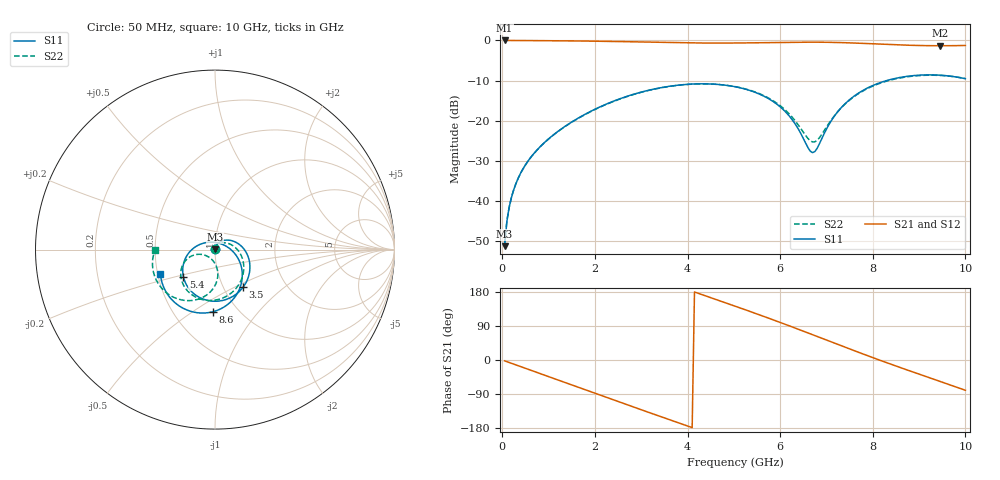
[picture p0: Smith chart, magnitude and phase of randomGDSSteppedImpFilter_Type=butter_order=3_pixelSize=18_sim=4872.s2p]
! freq	dB(S11)	phase(S11)	dB(S12)	phase(S12)
!  dB(S21)	phase(S21)	dB(S22)	phase(S22)
!S-par simulation data
#  GHz  S  DB  R 50
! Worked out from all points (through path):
!   200 points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, 50 MHz to 10 GHz, reference 50 ohm
!   highest |S21| = 0.00 dB at 50 MHz (marker M1); lowest = -1.3 dB at 9.45 GHz (marker M2)
!   group delay of S21, straight-line fit = 123 ps
!   lowest |S11| = -51.3 dB at 50 MHz (marker M3), VSWR 1.01, Z = 50 + j0.268 ohm
!   |S11| at or under -10 dB: start of sweep to 8.304 GHz
!   |S22| runs from -50.6 to -8.7 dB; largest |S21 - S12| = 0
!   S11 on the Smith chart (normalised r, x): 50 MHz: 1.00, +0.01; 3.5 GHz: 1.23, -0.56; 5.4 GHz: 0.67, -0.22; 8.6 GHz: 0.77, -0.61; 10 GHz: 0.52, -0.16
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0.05  -51.33 80.7  -0.00 -2.2  -0.00 -2.2  -50.59 77.7
0.1  -45.07 81.3  -0.01 -4.4  -0.01 -4.4  -44.98 79.4
0.2  -39.06 79.7  -0.02 -8.8  -0.02 -8.8  -39.07 76.9
0.45  -31.99 72.4  -0.03 -19.8  -0.03 -19.8  -31.99 65.9
1.15  -23.14 46.8  -0.08 -50.4  -0.08 -50.4  -23.18 32.7
1.75  -18.66 22.5  -0.15 -76.7  -0.15 -76.7  -18.72 4.7
2.5  -14.72 -9.6  -0.28 -109.5  -0.28 -109.5  -14.78 -28.7
3.4  -11.84 -49.0  -0.49 -148.5  -0.49 -148.5  -11.88 -66.9
3.5  -11.63 -53.4  -0.51 -152.8  -0.51 -152.8  -11.68 -71.0
4.25  -10.83 -86.4  -0.64 175.2  -0.64 175.2  -10.85 -101.2
5.05  -11.60 -122.6  -0.64 141.1  -0.64 141.1  -11.57 -132.0
5.4  -12.69 -139.3  -0.59 125.9  -0.59 125.9  -12.62 -144.7
6.1  -17.63 -179.0  -0.47 94.6  -0.47 94.6  -17.25 -164.5
6.7  -28.00 81.5  -0.42 66.8  -0.42 66.8  -25.34 -128.4
6.85  -25.72 33.2  -0.43 59.7  -0.43 59.7  -24.24 -102.3
7.1  -20.11 -5.2  -0.48 47.9  -0.48 47.9  -19.89 -84.3
7.4  -15.81 -29.1  -0.57 33.9  -0.57 33.9  -15.88 -85.1
7.85  -12.07 -55.2  -0.76 13.1  -0.76 13.1  -12.21 -98.0
8.35  -9.85 -80.2  -1.02 -9.3  -1.02 -9.3  -9.99 -116.2
8.6  -9.21 -91.9  -1.13 -20.2  -1.13 -20.2  -9.33 -125.7
9.45  -8.67 -130.4  -1.32 -56.3  -1.32 -56.3  -8.72 -158.3
10  -9.55 -156.0  -1.26 -79.9  -1.26 -79.9  -9.51 -179.2
